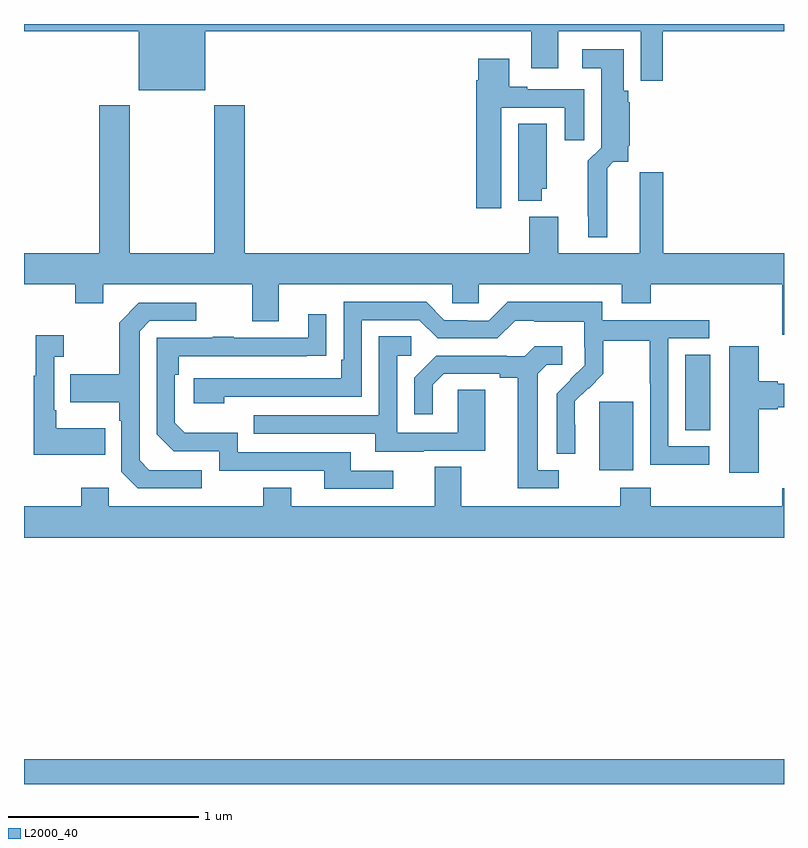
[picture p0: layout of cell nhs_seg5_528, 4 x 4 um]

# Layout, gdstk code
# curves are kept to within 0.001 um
import gdstk
lib = gdstk.Library(unit=1e-6, precision=1e-09)
def R(c, l, rs):  # rectangles x0, y0, x1, y1
    for r in rs: c.add(gdstk.rectangle(r[:2], r[2:], *l))
def P(c, l, *ps):  # polygons
    for p in ps: c.add(gdstk.Polygon(p, *l))
L2000_40 = (2000, 40)

nhs_seg5_528 = lib.new_cell('nhs_seg5_528')
R(nhs_seg5_528, L2000_40, [(145,852.799,149,852.928), (148.028,854.45,148.207,854.811), (148.481,854.662,148.612,855.059)])
P(nhs_seg5_528, L2000_40, [(145.954,856.76),(147.671,856.76),(147.671,856.566),(147.811,856.566),(147.811,856.76),(148.245,856.76),(148.245,856.5),(148.361,856.5),(148.361,856.76),(149,856.76),(149,856.799),(145,856.799),(145,856.76),(145.604,856.76),(145.604,856.451),(145.954,856.451)],
  [(148.069,856.04),(148.101,856.073),(148.181,856.073),(148.181,856.154),(148.187,856.16),(148.187,856.386),(148.181,856.386),(148.181,856.449),(148.156,856.449),(148.156,856.666),(147.939,856.666),(147.939,856.565),(148.037,856.565),(148.037,856.148),(147.967,856.078),(147.967,855.787),(147.971,855.787),(147.971,855.677),(148.069,855.677)],
  [(147.511,856.359),(147.845,856.359),(147.845,856.188),(147.949,856.188),(147.949,856.455),(147.649,856.455),(147.649,856.468),(147.553,856.468),(147.553,856.615),(147.392,856.615),(147.392,856.502),(147.38,856.502),(147.38,855.828),(147.511,855.828)],
  [(149,855.592),(148.364,855.592),(148.364,856.018),(148.241,856.018),(148.241,855.592),(147.811,855.592),(147.811,855.784),(147.659,855.784),(147.659,855.592),(146.162,855.592),(146.162,856.372),(146.002,856.372),(146.002,855.592),(145.557,855.592),(145.557,856.372),(145.397,856.372),(145.397,855.592),(145,855.592),(145,855.428),(145.27,855.428),(145.27,855.329),(145.417,855.329),(145.417,855.428),(146.201,855.428),(146.201,855.234),(146.341,855.234),(146.341,855.428),(147.255,855.428),(147.255,855.33),(147.393,855.33),(147.393,855.428),(148.145,855.428),(148.145,855.329),(148.298,855.329),(148.298,855.428),(148.991,855.428),(148.991,855.163),(149,855.163)],
  [(147.724,855.933),(147.751,855.933),(147.751,856.274),(147.602,856.274),(147.602,855.869),(147.724,855.869)],
  [(148.606,854.577),(148.392,854.577),(148.392,855.144),(148.606,855.144),(148.606,855.24),(148.044,855.24),(148.044,855.337),(147.547,855.337),(147.447,855.237),(147.332,855.237),(147.332,855.24),(147.213,855.24),(147.117,855.336),(146.682,855.336),(146.682,855.031),(146.669,855.031),(146.669,854.934),(145.893,854.934),(145.893,854.804),(146.054,854.804),(146.054,854.838),(146.778,854.838),(146.778,855.24),(147.081,855.24),(147.177,855.144),(147.492,855.144),(147.585,855.237),(147.685,855.237),(147.685,855.233),(147.948,855.233),(147.948,855.099),(147.95,855.099),(147.95,855.002),(147.804,854.854),(147.804,854.536),(147.9,854.536),(147.899,854.813),(147.969,854.883),(147.972,854.88),(148.049,854.957),(148.049,855.132),(148.294,855.132),(148.294,854.908),(148.296,854.908),(148.296,854.479),(148.606,854.479)],
  [(145.936,854.451),(145.659,854.451),(145.608,854.502),(145.608,855.183),(145.662,855.237),(145.906,855.237),(145.906,855.333),(145.605,855.333),(145.5,855.227),(145.5,854.955),(145.243,854.955),(145.243,854.807),(145.5,854.807),(145.5,854.711),(145.512,854.711),(145.512,854.442),(145.599,854.355),(145.936,854.355)],
  [(146.944,854.448),(146.719,854.448),(146.719,854.544),(146.124,854.544),(146.124,854.647),(145.847,854.647),(145.794,854.7),(145.794,854.954),(145.814,854.954),(145.814,855.051),(146.591,855.052),(146.591,855.271),(146.495,855.271),(146.495,855.147),(146.105,855.147),(146.105,855.152),(145.993,855.152),(145.993,855.147),(145.698,855.147),(145.698,854.64),(145.788,854.55),(146.028,854.55),(146.028,854.448),(146.579,854.448),(146.579,854.352),(146.944,854.352)],
  [(145.427,854.671),(145.171,854.671),(145.171,854.767),(145.158,854.767),(145.158,855.047),(145.21,855.047),(145.21,855.16),(145.061,855.16),(145.061,854.947),(145.05,854.947),(145.05,854.531),(145.427,854.531)],
  [(147.103,854.553),(147.427,854.553),(147.427,854.873),(147.282,854.873),(147.282,854.649),(146.964,854.649),(146.964,855.054),(147.037,855.054),(147.037,855.155),(146.868,855.155),(146.868,854.739),(146.209,854.739),(146.209,854.643),(146.849,854.643),(146.849,854.549),(147.103,854.549)],
  [(147.814,854.451),(147.703,854.451),(147.703,854.959),(147.75,855.006),(147.832,855.006),(147.832,855.103),(147.688,855.103),(147.636,855.051),(147.542,855.051),(147.542,855.054),(147.17,855.054),(147.054,854.938),(147.054,854.745),(147.151,854.745),(147.151,854.901),(147.208,854.958),(147.503,854.958),(147.503,854.936),(147.599,854.936),(147.599,854.355),(147.814,854.355)],
  [(148.867,854.771),(148.967,854.771),(148.967,854.783),(149,854.783),(149,854.905),(148.967,854.905),(148.967,854.918),(148.867,854.918),(148.867,855.103),(148.712,855.103),(148.712,854.436),(148.867,854.436)],
  [(149,854.356),(148.991,854.356),(148.991,854.26),(148.298,854.26),(148.298,854.359),(148.138,854.359),(148.138,854.26),(147.301,854.26),(147.301,854.468),(147.161,854.468),(147.161,854.26),(146.407,854.26),(146.407,854.359),(146.26,854.359),(146.26,854.26),(145.446,854.26),(145.446,854.359),(145.3,854.359),(145.3,854.26),(145,854.26),(145,854.096),(149,854.096)])

lib.write_gds('nhs_seg5_528.gds')
